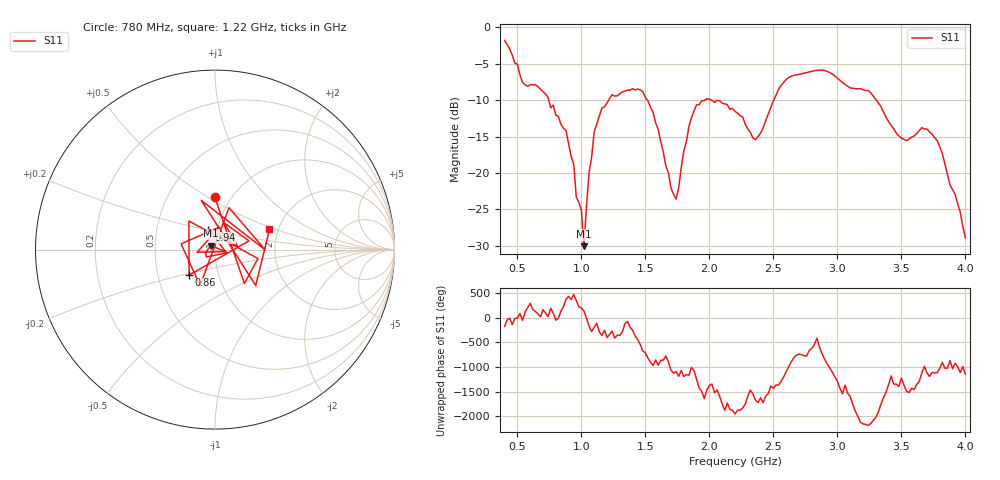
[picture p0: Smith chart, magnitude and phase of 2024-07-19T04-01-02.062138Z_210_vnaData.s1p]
!Created with skrf (http://scikit-rf.org).
# Hz S RI R 50.0
!freq ReS11 ImS11
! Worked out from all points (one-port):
!   181 points, 400 MHz to 4 GHz, reference 50 ohm
!   lowest |S11| = -30.1 dB at 1.02 GHz (marker M1), VSWR 1.06, Z = 47.8 + j2.14 ohm
!   |S11| at or under -10 dB: 745.2 MHz to 1.213 GHz (468 MHz wide, 47.8 % of centre); 2.02 GHz to 2.502 GHz (482.1 MHz wide, 21.3 % of centre); 3.304 GHz to end of sweep (the widest 3 of 4)
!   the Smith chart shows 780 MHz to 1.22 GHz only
!   S11 on the Smith chart (normalised r, x): 780 MHz: 0.84, +0.54; 860 MHz: 0.72, -0.21; 940 MHz: 0.91, +0.20; 1.22 GHz: 1.80, +0.45
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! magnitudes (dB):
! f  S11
! 400 MHz  -1.8
! 540 MHz  -7.5
! 780 MHz  -10.7
! 860 MHz  -13.9
! 940 MHz  -18.7
! 960 MHz  -23.4
! 1 GHz  -25.1
! 1.02 GHz  -30.1
! 1.06 GHz  -20.0
! 1.1 GHz  -14.4
! 1.22 GHz  -9.8
! 1.3 GHz  -9.1
! 1.48 GHz  -8.8
! 1.6 GHz  -14.0
! 1.7 GHz  -22.1
! 1.76 GHz  -22.1
! 1.84 GHz  -13.6
! 1.9 GHz  -10.6
! 2.2 GHz  -11.5
! 2.36 GHz  -15.4
! 2.54 GHz  -8.5
! 2.66 GHz  -6.6
! 3.1 GHz  -8.3
! 3.24 GHz  -8.7
! 3.56 GHz  -15.4
! 3.66 GHz  -13.8
! 3.78 GHz  -15.6
! 4 GHz  -28.9
